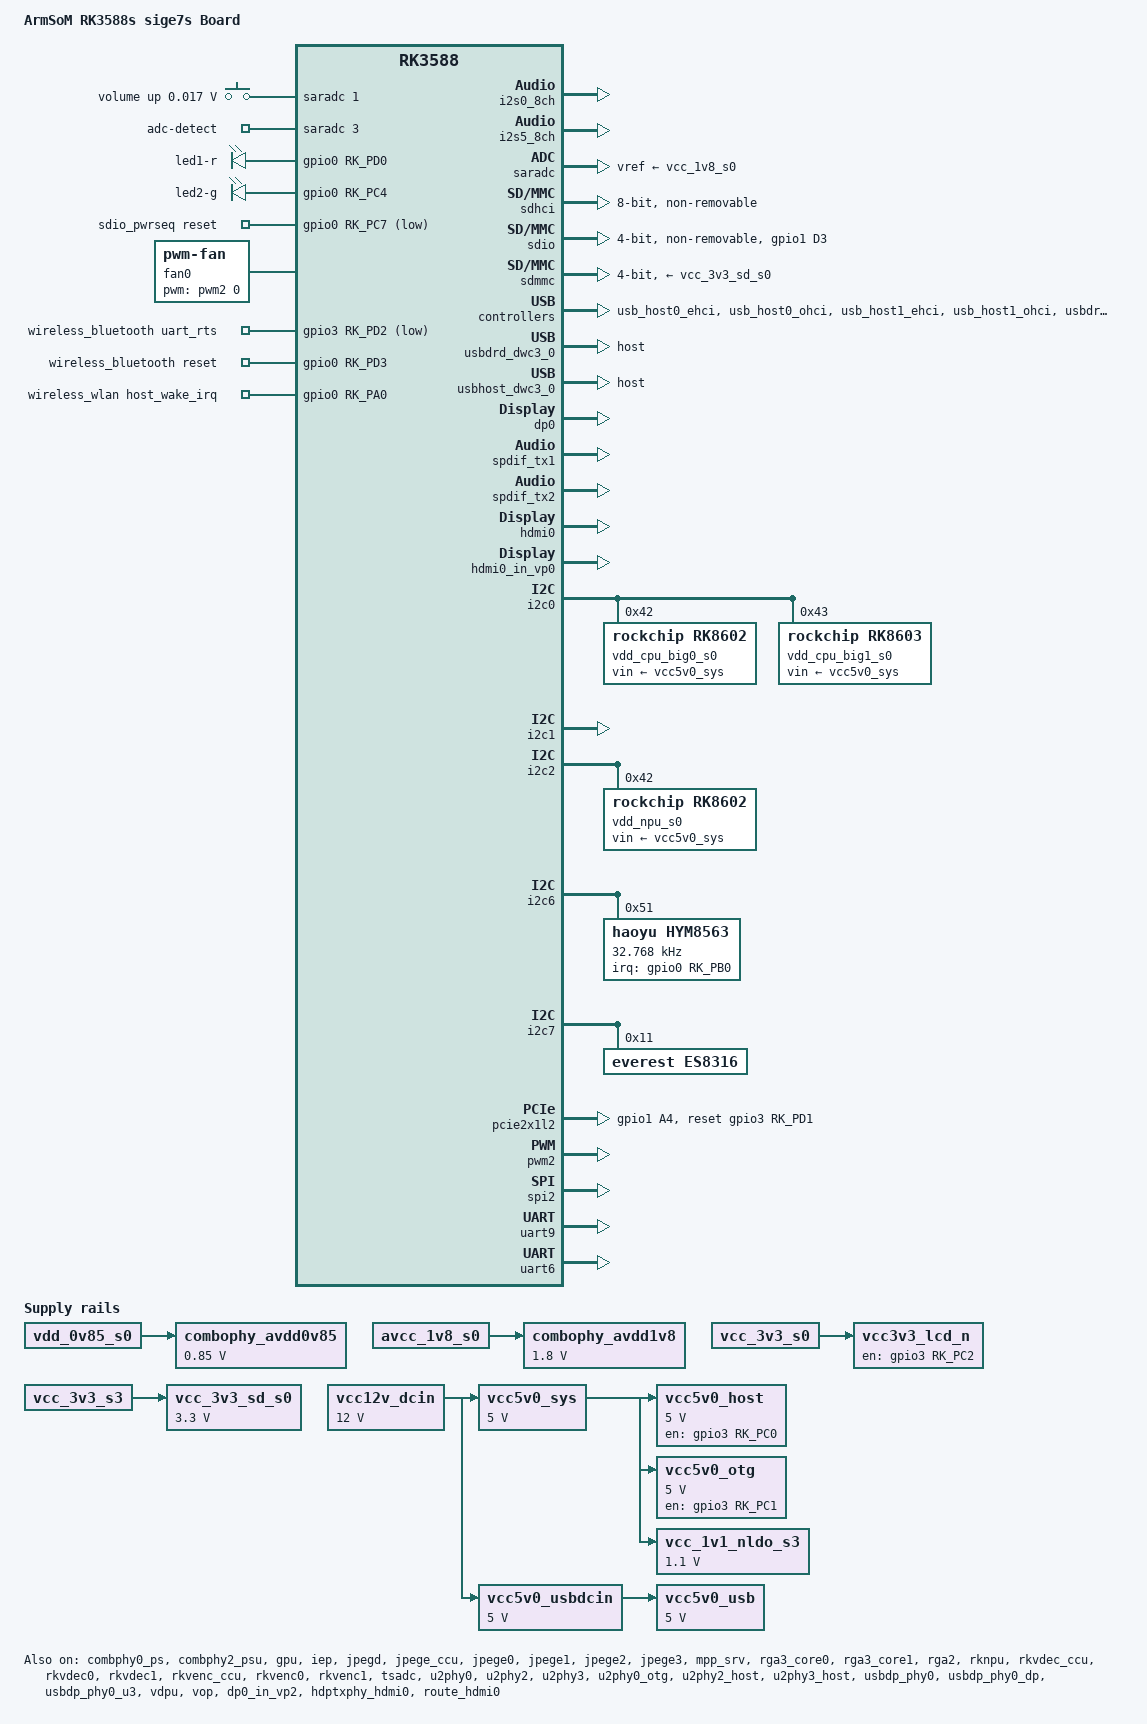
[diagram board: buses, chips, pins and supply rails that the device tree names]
// SPDX-License-Identifier: (GPL-2.0+ OR MIT)
/*
 * Copyright (c) 2022 Rockchip Electronics Co., Ltd.
 *
 */

/dts-v1/;

#include <dt-bindings/gpio/gpio.h>
#include <dt-bindings/leds/common.h>
#include <dt-bindings/pwm/pwm.h>
#include <dt-bindings/pinctrl/rockchip.h>
#include <dt-bindings/input/rk-input.h> 
#include <dt-bindings/display/drm_mipi_dsi.h>
#include <dt-bindings/display/rockchip_vop.h>
#include <dt-bindings/sensor-dev.h>
#include "rk3588s.dtsi"
#include "rk3588-rk806-single.dtsi"
#include "rk3588-linux.dtsi"

/ {
	model = "ArmSoM RK3588s sige7s Board";
	compatible = "rockchip,rk3588s-armsom-sige7s", "rockchip,rk3588";

	adc_keys: adc-keys {
		compatible = "adc-keys";
		io-channels = <&saradc 1>;
		io-channel-names = "buttons";
		keyup-threshold-microvolt = <1800000>;
		poll-interval = <100>;

		vol-up-key {
			label = "volume up";
			linux,code = <KEY_VOLUMEUP>;
			press-threshold-microvolt = <17000>;
		};
	};

	backlight: backlight {
		compatible = "pwm-backlight";
		brightness-levels = <
			  0  20  20  21  21  22  22  23
			 23  24  24  25  25  26  26  27
			 27  28  28  29  29  30  30  31
			 31  32  32  33  33  34  34  35
			 35  36  36  37  37  38  38  39
			 40  41  42  43  44  45  46  47
			 48  49  50  51  52  53  54  55
			 56  57  58  59  60  61  62  63
			 64  65  66  67  68  69  70  71
			 72  73  74  75  76  77  78  79
			 80  81  82  83  84  85  86  87
			 88  89  90  91  92  93  94  95
			 96  97  98  99 100 101 102 103
			104 105 106 107 108 109 110 111
			112 113 114 115 116 117 118 119
			120 121 122 123 124 125 126 127
			128 129 130 131 132 133 134 135
			136 137 138 139 140 141 142 143
			144 145 146 147 148 149 150 151
			152 153 154 155 156 157 158 159
			160 161 162 163 164 165 166 167
			168 169 170 171 172 173 174 175
			176 177 178 179 180 181 182 183
			184 185 186 187 188 189 190 191
			192 193 194 195 196 197 198 199
			200 201 202 203 204 205 206 207
			208 209 210 211 212 213 214 215
			216 217 218 219 220 221 222 223
			224 225 226 227 228 229 230 231
			232 233 234 235 236 237 238 239
			240 241 242 243 244 245 246 247
			248 249 250 251 252 253 254 255
		>;
		default-brightness-level = <200>;
	};

	dp0_sound: dp0-sound {
		status = "okay";
		compatible = "rockchip,hdmi";
		rockchip,card-name= "rockchip-dp0";
		rockchip,mclk-fs = <512>;
		rockchip,cpu = <&spdif_tx2>;
		rockchip,codec = <&dp0 1>;
		rockchip,jack-det;
	};

	hdmi0_sound: hdmi0-sound {
		status = "okay";
		compatible = "rockchip,hdmi";
		rockchip,mclk-fs = <128>;
		rockchip,card-name = "rockchip-hdmi0";
		rockchip,cpu = <&i2s5_8ch>;
		rockchip,codec = <&hdmi0>;
		rockchip,jack-det;
	};

	es8316_sound: es8316-sound {
		status = "okay";
		compatible = "rockchip,multicodecs-card";
		rockchip,card-name = "rockchip,es8316-codec";
		io-channels = <&saradc 3>;
		io-channel-names = "adc-detect";
		keyup-threshold-microvolt = <1800000>;
		poll-interval = <100>;
		rockchip,pre-power-on-delay-ms = <30>;
		rockchip,post-power-down-delay-ms = <40>;
		rockchip,format = "i2s";
		rockchip,mclk-fs = <256>;
		rockchip,cpu = <&i2s0_8ch>;
		rockchip,codec = <&es8316>;
		rockchip,audio-routing =
			"Headphone", "HPOL",
			"Headphone", "HPOR",
			"MIC2", "Headset Mic";
		play-pause-key {
			label = "playpause";
			linux,code = <KEY_PLAYPAUSE>;
			press-threshold-microvolt = <2000>;
		};
	};

	leds: leds {
		compatible = "gpio-leds";
		pinctrl-names = "default";
		pinctrl- = <&gpio_leds>;
		status = "okay";
		
		led1: led-red {
			label = "led1-r";
			gpios = <&gpio0 RK_PD0 GPIO_ACTIVE_HIGH>;
			default-state = "off";
		};
		
		led2: led-green {
			label = "led2-g";
			gpios = <&gpio0 RK_PC4 GPIO_ACTIVE_HIGH>;
			default-state = "off";
		};
	};

	sdio_pwrseq: sdio-pwrseq {
		compatible = "mmc-pwrseq-simple";
		clocks = <&hym8563>;
		clock-names = "ext_clock";
		pinctrl-names = "default";
		pinctrl-0 = <&wifi_enable_h>;
		/*
		 * On the module itself this is one of these (depending
		 * on the actual card populated):
		 * - SDIO_RESET_L_WL_REG_ON
		 * - PDN (power down when low)
		 */
		post-power-on-delay-ms = <200>;
		reset-gpios = <&gpio0 RK_PC7 GPIO_ACTIVE_LOW>;
	};

	vcc12v_dcin: vcc12v-dcin {
		compatible = "regulator-fixed";
		regulator-name = "vcc12v_dcin";
		regulator-always-on;
		regulator-boot-on;
		regulator-min-microvolt = <12000000>;
		regulator-max-microvolt = <12000000>;
	};

	vcc5v0_sys: vcc5v0-sys {
		compatible = "regulator-fixed";
		regulator-name = "vcc5v0_sys";
		regulator-always-on;
		regulator-boot-on;
		regulator-min-microvolt = <5000000>;
		regulator-max-microvolt = <5000000>;
		vin-supply = <&vcc12v_dcin>;
	};

	vcc5v0_usbdcin: vcc5v0-usbdcin {
		compatible = "regulator-fixed";
		regulator-name = "vcc5v0_usbdcin";
		regulator-always-on;
		regulator-boot-on;
		regulator-min-microvolt = <5000000>;
		regulator-max-microvolt = <5000000>;
		vin-supply = <&vcc12v_dcin>;
	};

	vcc5v0_usb: vcc5v0-usb {
		compatible = "regulator-fixed";
		regulator-name = "vcc5v0_usb";
		regulator-always-on;
		regulator-boot-on;
		regulator-min-microvolt = <5000000>;
		regulator-max-microvolt = <5000000>;
		vin-supply = <&vcc5v0_usbdcin>;
	};
	
	combophy_avdd0v85: combophy-avdd0v85 {
		compatible = "regulator-fixed";
		regulator-name = "combophy_avdd0v85";
		regulator-boot-on;
		regulator-always-on;
		regulator-min-microvolt = <850000>;
		regulator-max-microvolt = <850000>;
		vin-supply = <&vdd_0v85_s0>;
	};

	combophy_avdd1v8: combophy-avdd1v8 {
		compatible = "regulator-fixed";
		regulator-name = "combophy_avdd1v8";
		regulator-boot-on;
		regulator-always-on;
		regulator-min-microvolt = <1800000>;
		regulator-max-microvolt = <1800000>;
		vin-supply = <&avcc_1v8_s0>;
	};

	fan0: pwm-fan {
		compatible = "pwm-fan";
		#cooling-cells = <2>;
		pwms = <&pwm2 0 1000000 0>;//1kHZ
	};

	vcc3v3_lcd_n: vcc3v3-lcd0-n {
		compatible = "regulator-fixed";
		regulator-name = "vcc3v3_lcd0_n";
		regulator-boot-on;
		regulator-always-on;
		enable-active-high;
		gpio = <&gpio3 RK_PC2 GPIO_ACTIVE_HIGH>;
		vin-supply = <&vcc_3v3_s0>;
	};

	vcc5v0_host: vcc5v0-host {
		compatible = "regulator-fixed";
		regulator-name = "vcc5v0_host";
		regulator-boot-on;
		regulator-always-on;
		regulator-min-microvolt = <5000000>;
		regulator-max-microvolt = <5000000>;
		enable-active-high;
		gpio = <&gpio3 RK_PC0 GPIO_ACTIVE_HIGH>;
		vin-supply = <&vcc5v0_sys>;
		pinctrl-names = "default";
		pinctrl-0 = <&vcc5v0_host_en>;
	};

	vcc5v0_otg: vcc5v0-otg {
		compatible = "regulator-fixed";
		regulator-name = "vcc5v0_otg";
		regulator-boot-on;
		regulator-always-on;
		regulator-min-microvolt = <5000000>;
		regulator-max-microvolt = <5000000>;
		enable-active-high;
		gpio = <&gpio3 RK_PC1 GPIO_ACTIVE_HIGH>;
		vin-supply = <&vcc5v0_sys>;
		pinctrl-names = "default";
		pinctrl-0 = <&vcc5v0_u3host_en>;
	};

	vcc_1v1_nldo_s3: vcc-1v1-nldo-s3 {
		compatible = "regulator-fixed";
		regulator-name = "vcc_1v1_nldo_s3";
		regulator-always-on;
		regulator-boot-on;
		regulator-min-microvolt = <1100000>;
		regulator-max-microvolt = <1100000>;
		vin-supply = <&vcc5v0_sys>;
	};

	vcc_3v3_sd_s0: vcc-3v3-sd-s0 {
		compatible = "regulator-fixed";
		regulator-name = "vcc_3v3_sd_s0";
		regulator-min-microvolt = <3300000>;
		regulator-max-microvolt = <3300000>;
		enable-active-low;
		vin-supply = <&vcc_3v3_s3>;
	};

	wireless_bluetooth: wireless-bluetooth {
		compatible = "bluetooth-platdata";
		clocks = <&hym8563>;
		clock-names = "ext_clock";
		uart_rts_gpios = <&gpio3 RK_PD2 GPIO_ACTIVE_LOW>;
		pinctrl-names = "default", "rts_gpio";
		pinctrl-0 = <&uart9m2_rtsn>;
		pinctrl-1 = <&uart9_gpios>;
		BT,reset_gpio    = <&gpio0 RK_PD3 GPIO_ACTIVE_HIGH>;
		// BT,wake_gpio     = <&gpio0 RK_PC6 GPIO_ACTIVE_HIGH>;
		// BT,wake_host_irq = <&gpio0 RK_PC5 GPIO_ACTIVE_HIGH>;
		status = "okay";
	};

	wireless_wlan: wireless-wlan {
		compatible = "wlan-platdata";
		wifi_chip_type = "ap6256";
		pinctrl-names = "default";
		pinctrl-0 = <&wifi_host_wake_irq>;
		WIFI,host_wake_irq = <&gpio0 RK_PA0 GPIO_ACTIVE_HIGH>;
//		WIFI,poweren_gpio = <&gpio1 RK_PD3 GPIO_ACTIVE_HIGH>;
		status = "okay";
	};
};

&combphy0_ps {
	status = "okay";
};

&combphy2_psu {
	status = "okay";
};

&cpu_l0 {
	cpu-supply = <&vdd_cpu_lit_s0>;
	mem-supply = <&vdd_cpu_lit_mem_s0>;
};

&cpu_b0 {
	cpu-supply = <&vdd_cpu_big0_s0>;
	mem-supply = <&vdd_cpu_big0_mem_s0>;
};

&cpu_b2 {
	cpu-supply = <&vdd_cpu_big1_s0>;
	mem-supply = <&vdd_cpu_big1_mem_s0>;
};

&gpu {
	mali-supply = <&vdd_gpu_s0>;
	mem-supply = <&vdd_gpu_mem_s0>;
	status = "okay";
};

&i2s0_8ch {
	status = "okay";
	pinctrl-0 = <&i2s0_lrck
		     &i2s0_sclk
		     &i2s0_sdi0
		     &i2s0_sdo0>;
};

&i2s5_8ch {
	status = "okay";
};

&iep {
	status = "okay";
};

&iep_mmu {
	status = "okay";
};

&jpegd {
	status = "okay";
};

&jpegd_mmu {
	status = "okay";
};

&jpege_ccu {
	status = "okay";
};

&jpege0 {
	status = "okay";
};

&jpege0_mmu {
	status = "okay";
};

&jpege1 {
	status = "okay";
};

&jpege1_mmu {
	status = "okay";
};

&jpege2 {
	status = "okay";
};

&jpege2_mmu {
	status = "okay";
};

&jpege3 {
	status = "okay";
};

&jpege3_mmu {
	status = "okay";
};

&mpp_srv {
	status = "okay";
};

&rga3_core0 {
	status = "okay";
};

&rga3_0_mmu {
	status = "okay";
};

&rga3_core1 {
	status = "okay";
};

&rga3_1_mmu {
	status = "okay";
};

&rga2 {
	status = "okay";
};

&rknpu {
	rknpu-supply = <&vdd_npu_s0>;
	mem-supply = <&vdd_npu_mem_s0>;
	status = "okay";
};

&rknpu_mmu {
	status = "okay";
};

&rkvdec_ccu {
	status = "okay";
};

&rkvdec0 {
	status = "okay";
};

&rkvdec0_mmu {
	status = "okay";
};

&rkvdec1 {
	status = "okay";
};

&rkvdec1_mmu {
	status = "okay";
};

&rkvenc_ccu {
	status = "okay";
};

&rkvenc0 {
	status = "okay";
};

&rkvenc0_mmu {
	status = "okay";
};

&rkvenc1 {
	status = "okay";
};

&rkvenc1_mmu {
	status = "okay";
};

&rockchip_suspend {
	status = "okay";
	rockchip,sleep-debug-en = <1>;
};

&saradc {
	status = "okay";
	vref-supply = <&vcc_1v8_s0>;
};

&sdhci {
	bus-width = <8>;
	no-sdio;
	no-sd;
	non-removable;
	max-frequency = <200000000>;
	mmc-hs400-1_8v;
	mmc-hs400-enhanced-strobe;
	status = "okay";
};

&sdio {
	max-frequency = <150000000>;
	no-sd;
	no-mmc;
	bus-width = <4>;
	disable-wp;
	cap-sd-highspeed;
	cap-sdio-irq;
	keep-power-in-suspend;
	mmc-pwrseq = <&sdio_pwrseq>;
	non-removable;
	rockchip,default-sample-phase = <180>;
	pinctrl-names = "default";
	pinctrl-0 = <&sdiom1_pins>,<&wifi_poweren_gpio>;
	//sd-uhs-sdr104;
	status = "okay";
};

&sdmmc {
	max-frequency = <150000000>;
	no-sdio;
	no-mmc;
	bus-width = <4>;
	cap-mmc-highspeed;
	cap-sd-highspeed;
	disable-wp;
	sd-uhs-sdr104;
	vmmc-supply = <&vcc_3v3_sd_s0>;
	vqmmc-supply = <&vccio_sd_s0>;
	status = "okay";
};

&tsadc {
	status = "okay";
};

&u2phy0 {
	status = "okay";
};

&u2phy2 {
	status = "okay";
};

&u2phy3 {
	status = "okay";
};

&u2phy0_otg {
	vbus-supply = <&vcc5v0_otg>;
	status = "okay";
};

&u2phy2_host {
	phy-supply = <&vcc5v0_host>;
	status = "okay";
};

&u2phy3_host {
	status = "okay";
};

&usb_host0_ehci {
	status = "okay";
};

&usb_host0_ohci {
	status = "okay";
};

&usb_host1_ehci {
	status = "okay";
};

&usb_host1_ohci {
	status = "okay";
};

&usbdp_phy0 {
	rockchip,dp-lane-mux = < 0 1 >;
	status = "okay";
};

&usbdp_phy0_dp {
	status = "okay";
};

&usbdp_phy0_u3 {
	status = "okay";
};

&usbdrd3_0 {
	status = "okay";
};

&usbdrd_dwc3_0 {
	dr_mode = "host";
	//dr_mode = "peripheral";
	//extcon = <&u2phy0>;
	status = "okay";
};

&usbhost3_0 {
	status = "okay";
};

&usbhost_dwc3_0 {
	dr_mode = "host";
	status = "okay";
};

&vdpu {
	status = "okay";
};

&vdpu_mmu {
	status = "okay";
};

&vop {
	assigned-clock-rates = <800000000>;
	status = "okay";
};

&vop_mmu {
	status = "okay";
};

/* vp0 & vp1 splice for 8K output */
&vp0 {
	cursor-win-id=<ROCKCHIP_VOP2_CLUSTER0>;
	rockchip,plane-mask = <(1 << ROCKCHIP_VOP2_CLUSTER0 | 1 << ROCKCHIP_VOP2_ESMART0)>;
	rockchip,primary-plane = <ROCKCHIP_VOP2_ESMART0>;
};

&vp1 {
	cursor-win-id=<ROCKCHIP_VOP2_CLUSTER1>;
	rockchip,plane-mask = <(1 << ROCKCHIP_VOP2_CLUSTER1 | 1 << ROCKCHIP_VOP2_ESMART1)>;
	rockchip,primary-plane = <ROCKCHIP_VOP2_ESMART1>;
};

&vp2 {
	cursor-win-id=<ROCKCHIP_VOP2_CLUSTER2>;
	rockchip,plane-mask = <(1 << ROCKCHIP_VOP2_CLUSTER2 | 1 << ROCKCHIP_VOP2_ESMART2)>;
	rockchip,primary-plane = <ROCKCHIP_VOP2_ESMART2>;
};

&vp3 {
	cursor-win-id=<ROCKCHIP_VOP2_CLUSTER3>;
	rockchip,plane-mask = <(1 << ROCKCHIP_VOP2_CLUSTER3 | 1 << ROCKCHIP_VOP2_ESMART3)>;
	rockchip,primary-plane = <ROCKCHIP_VOP2_ESMART3>;
};

&backlight {
	pwms = <&pwm13 0 25000 0>;
	status = "disabled";
};

&dp0 {
	status = "okay";
	pinctrl-0 = <&dp0m0_pins>;
	pinctrl-names = "default";
};

&dp0_in_vp2 {
	status = "okay";
};

&spdif_tx1 {
	status = "okay";
	pinctrl-names = "default";
	pinctrl-0 = <&spdif1m0_tx>;
};

&spdif_tx2 {
	status = "okay";
};

&display_subsystem {
        clocks = <&hdptxphy_hdmi0>;
        clock-names = "hdmi0_phy_pll";
};

&hdmi0 {
	enable-gpios = <&gpio4 RK_PB6 GPIO_ACTIVE_HIGH>;
	pinctrl-0 = <&hdmim0_tx0_cec &hdmim0_tx0_hpd &hdmim0_tx0_scl &hdmim0_tx0_sda>;
	status = "okay";
};

&hdmi0_in_vp0 {
	status = "okay";
};

&hdptxphy_hdmi0 {
	status = "okay";
};

&route_hdmi0 {
	connect = <&vp0_out_hdmi0>;
	status = "okay";
};

&i2c0 {
	status = "okay";
	pinctrl-names = "default";
	pinctrl-0 = <&i2c0m2_xfer>;

	vdd_cpu_big0_s0: vdd_cpu_big0_mem_s0: rk8602@42 {
		compatible = "rockchip,rk8602";
		reg = <0x42>;
		vin-supply = <&vcc5v0_sys>;
		regulator-compatible = "rk860x-reg";
		regulator-name = "vdd_cpu_big0_s0";
		regulator-min-microvolt = <550000>;
		regulator-max-microvolt = <1050000>;
		regulator-ramp-delay = <2300>;
		rockchip,suspend-voltage-selector = <1>;
		regulator-boot-on;
		regulator-always-on;
		regulator-state-mem {
			regulator-off-in-suspend;
		};
	};

	vdd_cpu_big1_s0: vdd_cpu_big1_mem_s0: rk8603@43 {
		compatible = "rockchip,rk8603";
		reg = <0x43>;
		vin-supply = <&vcc5v0_sys>;
		regulator-compatible = "rk860x-reg";
		regulator-name = "vdd_cpu_big1_s0";
		regulator-min-microvolt = <550000>;
		regulator-max-microvolt = <1050000>;
		regulator-ramp-delay = <2300>;
		rockchip,suspend-voltage-selector = <1>;
		regulator-boot-on;
		regulator-always-on;
		regulator-state-mem {
			regulator-off-in-suspend;
		};
	};
};

&i2c1 {
	status = "okay";
	pinctrl-names = "default";
	pinctrl-0 = <&i2c1m2_xfer>;
};

&i2c2 {
	status = "okay";

	vdd_npu_s0: vdd_npu_mem_s0: rk8602@42 {
		compatible = "rockchip,rk8602";
		reg = <0x42>;
		vin-supply = <&vcc5v0_sys>;
		regulator-compatible = "rk860x-reg";
		regulator-name = "vdd_npu_s0";
		regulator-min-microvolt = <550000>;
		regulator-max-microvolt = <950000>;
		regulator-ramp-delay = <2300>;
		rockchip,suspend-voltage-selector = <1>;
		regulator-boot-on;
		regulator-always-on;
		regulator-state-mem {
			regulator-off-in-suspend;
		};
	};
};

&i2c3 {
	status = "disabled";
};

&i2c5 {
	status = "disabled";

};

&i2c6 {
	status = "okay";
	pinctrl-names = "default";
	pinctrl-0 = <&i2c6m3_xfer>;

	hym8563: hym8563@51 {
		compatible = "haoyu,hym8563";
		reg = <0x51>;
		#clock-cells = <0>;
		clock-frequency = <32768>;
		clock-output-names = "hym8563";
		pinctrl-names = "default";
		pinctrl-0 = <&hym8563_int>;
		interrupt-parent = <&gpio0>;
		interrupts = <RK_PB0 IRQ_TYPE_LEVEL_LOW>;
		wakeup-source;
	};

};

/*codec es8316*/
&i2c7 {
	status = "okay";
	pinctrl-names = "default";
	pinctrl-0 = <&i2c7m0_xfer>;
	
	es8316: es8316@11 {
		status = "okay";
		#sound-dai-cells = <0>;
		compatible = "everest,es8316";
		reg = <0x11>;
		clocks = <&mclkout_i2s0>;
		clock-names = "mclk";
		assigned-clocks = <&mclkout_i2s0>;
		assigned-clock-rates = <12288000>;
		pinctrl-names = "default";
		pinctrl-0 = <&i2s0_mclk>;
	};
};

&pdm0 {
	status = "disabled";
};

&pcie2x1l1 {
	reset-gpios = <&gpio4 RK_PA2 GPIO_ACTIVE_HIGH>;
	status = "disabled";
};

&pcie2x1l2 {
	reset-gpios = <&gpio3 RK_PD1 GPIO_ACTIVE_HIGH>;
	rockchip,skip-scan-in-resume;
	pinctrl-names = "default";
	pinctrl-0 = <&rtl8111_isolate>;
	status = "okay";
};

&pwm2 {
	pinctrl-0 = <&pwm2m1_pins>;
	status = "okay";
};

&pwm11 {
	pinctrl-0 = <&pwm11m1_pins>;
	status = "disabled";
};

&pwm13 {
	status = "disabled";
	pinctrl-names = "active";
	pinctrl-0 = <&pwm13m2_pins>;
};

&pwm15 {
	compatible = "rockchip,remotectl-pwm";
	pinctrl-names = "default";
	pinctrl-0 = <&pwm15m0_pins>;
	remote_pwm_id = <3>;
	handle_cpu_id = <1>;
	remote_support_psci = <0>;
	status = "disabled";

	ir_key1 {
		rockchip,usercode = <0x4040>;
		rockchip,key_table =
			<0xf2   KEY_REPLY>,
			<0xba   KEY_BACK>,
			<0xf4   KEY_UP>,
			<0xf1   KEY_DOWN>,
			<0xef   KEY_LEFT>,
			<0xee   KEY_RIGHT>,
			<0xbd   KEY_HOME>,
			<0xea   KEY_VOLUMEUP>,
			<0xe3   KEY_VOLUMEDOWN>,
			<0xe2   KEY_SEARCH>,
			<0xb2   KEY_POWER>,
			<0xbc   KEY_MUTE>,
			<0xec   KEY_MENU>,
			<0xbf   0x190>,
			<0xe0   0x191>,
			<0xe1   0x192>,
			<0xe9   183>,
			<0xe6   248>,
			<0xe8   185>,
			<0xe7   186>,
			<0xf0   388>,
			<0xbe   0x175>;
	};
};

&spi2 {
	pinctrl-names = "default";
    pinctrl-0 = <&spi2m2_cs0 &spi2m2_pins>;
    num-cs = <1>;
	status = "okay";
};

&uart9 {
	status = "okay";
	pinctrl-names = "default";
	pinctrl-0 = <&uart9m2_xfer &uart9m2_ctsn>;
};

// &uart2 {
// 	pinctrl-names = "default";
// 	pinctrl-0 = <&uart2m0_xfer>;
// 	status = "okay";
// };

&uart6 {
	pinctrl-names = "default";
	pinctrl-0 = <&uart6m1_xfer>;
	status = "okay";
};

&can1 {
	pinctrl-names = "default";
	pinctrl-0 = <&can1m1_pins>;
	status = "disabled";
};

&pinctrl {
	hym8563 {
		hym8563_int: hym8563-int {
			rockchip,pins = <0 RK_PB0 RK_FUNC_GPIO &pcfg_pull_up>;
		};
	};

	rtl8111 {
		rtl8111_isolate: rtl8111-isolate {
			rockchip,pins = <1 RK_PA4 RK_FUNC_GPIO &pcfg_pull_up>;
		};
	};

	led {
		gpio_leds: gpio-leds {
			rockchip,pins = <0 RK_PC4 RK_FUNC_GPIO &pcfg_pull_down>,
                            <0 RK_PD0 RK_FUNC_GPIO &pcfg_pull_down>;
		};
	};

	usb {
		vcc5v0_host_en: vcc5v0-host-en {
			rockchip,pins = <3 RK_PC0 RK_FUNC_GPIO &pcfg_pull_none>,
					<4 RK_PB5 RK_FUNC_GPIO &pcfg_pull_up>;
		};

		vcc5v0_u3host_en: vcc5v0-u3host-en {
			rockchip,pins = <3 RK_PC1 RK_FUNC_GPIO &pcfg_pull_none>;
		};
	};

	sdio-pwrseq {
		wifi_enable_h: wifi-enable-h {
			rockchip,pins = <0 RK_PC7 RK_FUNC_GPIO &pcfg_pull_up>;
		};
	};

	wireless-bluetooth {
		uart9_gpios: uart9-gpios {
			rockchip,pins = <3 RK_PD2 RK_FUNC_GPIO &pcfg_pull_none>;
		};
	};

	wireless-wlan {
		wifi_host_wake_irq: wifi-host-wake-irq {
			rockchip,pins = <0 RK_PA0 RK_FUNC_GPIO &pcfg_pull_down>;
		};

		wifi_poweren_gpio: wifi-poweren-gpio {
			rockchip,pins = <1 RK_PD3 RK_FUNC_GPIO &pcfg_output_high>;
		};
	};
};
